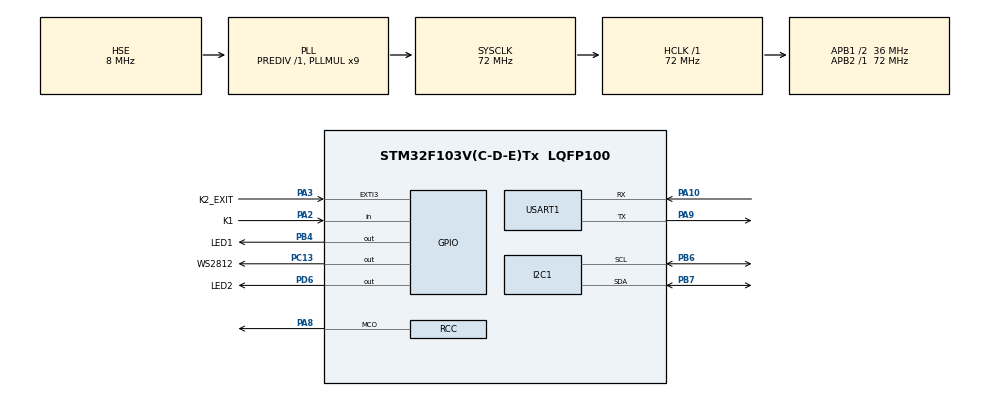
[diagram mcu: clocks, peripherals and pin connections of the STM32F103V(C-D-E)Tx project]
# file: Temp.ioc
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Mcu.Family=STM32F1
Mcu.Name=STM32F103V(C-D-E)Tx
Mcu.Package=LQFP100
NVIC.EXTI3_IRQn=true\:0\:0\:false\:false\:true\:true\:true\:true
NVIC.PriorityGroup=NVIC_PRIORITYGROUP_4
NVIC.USART1_IRQn=true\:0\:0\:false\:false\:true\:true\:true\:true
OSC_IN.Mode=HSE-External-Oscillator
OSC_IN.Signal=RCC_OSC_IN
OSC_OUT.Mode=HSE-External-Oscillator
OSC_OUT.Signal=RCC_OSC_OUT
PA10.Mode=Asynchronous
PA10.Signal=USART1_RX
PA13.Mode=Serial_Wire
PA13.Signal=SYS_JTMS-SWDIO
PA14.Mode=Serial_Wire
PA14.Signal=SYS_JTCK-SWCLK
PA2.GPIO_Label=K1
PA2.Signal=GPIO_Input
PA3.GPIO_Label=K2_EXIT
PA3.GPIO_ModeDefaultEXTI=GPIO_MODE_IT_FALLING
PA3.Signal=GPXTI3
PA8.Mode=Clock-out
PA8.Signal=RCC_MCO
PA9.Mode=Asynchronous
PA9.Signal=USART1_TX
PB4.GPIO_Label=LED1
PB4.GPIO_ModeDefaultOutputPP=GPIO_MODE_OUTPUT_PP
PB4.GPIO_PuPd=GPIO_PULLUP
PB4.GPIO_Speed=GPIO_SPEED_FREQ_HIGH
PB4.PinState=GPIO_PIN_SET
PB4.Signal=GPIO_Output
PB6.Mode=I2C
PB6.Signal=I2C1_SCL
PB7.Mode=I2C
PB7.Signal=I2C1_SDA
PC13-TAMPER-RTC.GPIO_Label=WS2812
PC13-TAMPER-RTC.GPIO_PuPd=GPIO_PULLUP
PC13-TAMPER-RTC.GPIO_Speed=GPIO_SPEED_FREQ_HIGH
PC13-TAMPER-RTC.PinState=GPIO_PIN_SET
PC13-TAMPER-RTC.Signal=GPIO_Output
PC14-OSC32_IN.Mode=LSE-External-Oscillator
PC14-OSC32_IN.Signal=RCC_OSC32_IN
PC15-OSC32_OUT.Mode=LSE-External-Oscillator
PC15-OSC32_OUT.Signal=RCC_OSC32_OUT
PD6.GPIO_Label=LED2
PD6.GPIO_ModeDefaultOutputPP=GPIO_MODE_OUTPUT_PP
PD6.GPIO_PuPd=GPIO_PULLUP
PD6.GPIO_Speed=GPIO_SPEED_FREQ_HIGH
PD6.PinState=GPIO_PIN_SET
PD6.Signal=GPIO_Output
ProjectManager.HeapSize=0x200
ProjectManager.StackSize=0x400
ProjectManager.TargetToolchain=Makefile
RCC.AHBFreq_Value=72000000
RCC.APB1CLKDivider=RCC_HCLK_DIV2
RCC.APB1Freq_Value=36000000
RCC.APB1TimFreq_Value=72000000
RCC.APB2Freq_Value=72000000
RCC.APB2TimFreq_Value=72000000
RCC.HCLKFreq_Value=72000000
RCC.PLLMUL=RCC_PLL_MUL9
RCC.PLLSourceVirtual=RCC_PLLSOURCE_HSE
RCC.RCC_MCOSource=RCC_MCO1SOURCE_PLLCLK
RCC.SYSCLKFreq_VALUE=72000000
RCC.SYSCLKSource=RCC_SYSCLKSOURCE_PLLCLK
RCC.USBFreq_Value=72000000
USART1.VirtualMode=VM_ASYNC
board=custom

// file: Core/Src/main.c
/* USER CODE BEGIN Header */
/**
  ******************************************************************************
  * @file           : main.c
  * @brief          : Main program body
  ******************************************************************************
  * @attention
  *
  * Copyright (c) 2025 STMicroelectronics.
  * All rights reserved.
  *
  * This software is licensed under terms that can be found in the LICENSE file
  * in the root directory of this software component.
  * If no LICENSE file comes with this software, it is provided AS-IS.
  *
  ******************************************************************************
  */
/* USER CODE END Header */
#include "main.h"

/* USER CODE BEGIN Includes */
#include "stdio.h"//printf函数
/* USER CODE END Includes */

/* USER CODE BEGIN PTD */
uint8_t rx_buff[100];  //接收缓存
uint8_t rx_done = 0; //接收完成标志
uint8_t rx_cnt = 0;//接收数据长度
/* USER CODE END PTD */

/* USER CODE BEGIN PD */
// EEPROM测试
void E2PROM_I2C_Test(void);
// I2C全局变量
#define ADDR_WR_AT24CXX 0xA0 // 写器件地址
#define ADDR_RD_AT24CXX 0xA1 // 读器件地址
#define BuffSize 256
uint8_t Wr_buff[BuffSize], Rd_buff[BuffSize]; // 读写数据buff
/* USER CODE END PD */

I2C_HandleTypeDef hi2c1;

UART_HandleTypeDef huart1;

void SystemClock_Config(void);
static void MX_GPIO_Init(void);
static void MX_USART1_UART_Init(void);
static void MX_I2C1_Init(void);
/* USER CODE BEGIN PFP */
//发送RGB数据，显示对应颜色
void sendRGB(uint8_t r, uint8_t g, uint8_t b);
// 发送一个字节
void sendByte(uint8_t byte);
// 发送单个比特
void sendBit(uint8_t bitVal);
/* USER CODE END PFP */

int main(void)
{

  /* MCU Configuration--------------------------------------------------------*/

  /* Reset of all peripherals, Initializes the Flash interface and the Systick. */
  HAL_Init();

  /* Configure the system clock */
  SystemClock_Config();

  /* Initialize all configured peripherals */
  MX_GPIO_Init();
  MX_USART1_UART_Init();
  MX_I2C1_Init();
  /* USER CODE BEGIN 2 */
  E2PROM_I2C_Test();//I2C通信测试
  /* USER CODE END 2 */

  /* Infinite loop */
  while (1)
  {

    /* USER CODE BEGIN 3 */
    sendRGB(0, 25, 0); //设置绿色
    HAL_Delay(1000);
    sendRGB(0, 0, 25);//设置蓝色
    HAL_Delay(1000);
    sendRGB(25, 0, 0);//设置红色
    HAL_Delay(1000);
  }
  /* USER CODE END 3 */
}

void SystemClock_Config(void)
{
  RCC_OscInitTypeDef RCC_OscInitStruct = {0};
  RCC_ClkInitTypeDef RCC_ClkInitStruct = {0};

  /** Initializes the RCC Oscillators according to the specified parameters
  * in the RCC_OscInitTypeDef structure.
  */
  RCC_OscInitStruct.OscillatorType = RCC_OSCILLATORTYPE_HSE;
  RCC_OscInitStruct.HSEState = RCC_HSE_ON;
  RCC_OscInitStruct.HSEPredivValue = RCC_HSE_PREDIV_DIV1;
  RCC_OscInitStruct.HSIState = RCC_HSI_ON;
  RCC_OscInitStruct.PLL.PLLState = RCC_PLL_ON;
  RCC_OscInitStruct.PLL.PLLSource = RCC_PLLSOURCE_HSE;
  RCC_OscInitStruct.PLL.PLLMUL = RCC_PLL_MUL9;
  if (HAL_RCC_OscConfig(&RCC_OscInitStruct) != HAL_OK)
  {
    Error_Handler();
  }

  /** Initializes the CPU, AHB and APB buses clocks
  */
  RCC_ClkInitStruct.ClockType = RCC_CLOCKTYPE_HCLK|RCC_CLOCKTYPE_SYSCLK
                              |RCC_CLOCKTYPE_PCLK1|RCC_CLOCKTYPE_PCLK2;
  RCC_ClkInitStruct.SYSCLKSource = RCC_SYSCLKSOURCE_PLLCLK;
  RCC_ClkInitStruct.AHBCLKDivider = RCC_SYSCLK_DIV1;
  RCC_ClkInitStruct.APB1CLKDivider = RCC_HCLK_DIV2;
  RCC_ClkInitStruct.APB2CLKDivider = RCC_HCLK_DIV1;

  if (HAL_RCC_ClockConfig(&RCC_ClkInitStruct, FLASH_LATENCY_2) != HAL_OK)
  {
    Error_Handler();
  }
  HAL_RCC_MCOConfig(RCC_MCO, RCC_MCO1SOURCE_PLLCLK, RCC_MCODIV_1);
}

static void MX_I2C1_Init(void)
{

  hi2c1.Instance = I2C1;
  hi2c1.Init.ClockSpeed = 100000;
  hi2c1.Init.DutyCycle = I2C_DUTYCYCLE_2;
  hi2c1.Init.OwnAddress1 = 0;
  hi2c1.Init.AddressingMode = I2C_ADDRESSINGMODE_7BIT;
  hi2c1.Init.DualAddressMode = I2C_DUALADDRESS_DISABLE;
  hi2c1.Init.OwnAddress2 = 0;
  hi2c1.Init.GeneralCallMode = I2C_GENERALCALL_DISABLE;
  hi2c1.Init.NoStretchMode = I2C_NOSTRETCH_DISABLE;
  if (HAL_I2C_Init(&hi2c1) != HAL_OK)
  {
    Error_Handler();
  }

}

static void MX_USART1_UART_Init(void)
{

  huart1.Instance = USART1;
  huart1.Init.BaudRate = 115200;
  huart1.Init.WordLength = UART_WORDLENGTH_8B;
  huart1.Init.StopBits = UART_STOPBITS_1;
  huart1.Init.Parity = UART_PARITY_NONE;
  huart1.Init.Mode = UART_MODE_TX_RX;
  huart1.Init.HwFlowCtl = UART_HWCONTROL_NONE;
  huart1.Init.OverSampling = UART_OVERSAMPLING_16;
  if (HAL_UART_Init(&huart1) != HAL_OK)
  {
    Error_Handler();
  }
  /* USER CODE BEGIN USART1_Init 2 */
  //�?启接收中断，空闲中断
  __HAL_UART_ENABLE_IT(&huart1,UART_IT_IDLE|UART_IT_RXNE);
  /* USER CODE END USART1_Init 2 */

}

static void MX_GPIO_Init(void)
{
  GPIO_InitTypeDef GPIO_InitStruct = {0};

  /* GPIO Ports Clock Enable */
  __HAL_RCC_GPIOC_CLK_ENABLE();
  __HAL_RCC_GPIOA_CLK_ENABLE();
  __HAL_RCC_GPIOD_CLK_ENABLE();
  __HAL_RCC_GPIOB_CLK_ENABLE();

  /*Configure GPIO pin Output Level */
  HAL_GPIO_WritePin(WS2812_GPIO_Port, WS2812_Pin, GPIO_PIN_SET);

  /*Configure GPIO pin Output Level */
  HAL_GPIO_WritePin(LED2_GPIO_Port, LED2_Pin, GPIO_PIN_SET);

  /*Configure GPIO pin Output Level */
  HAL_GPIO_WritePin(LED1_GPIO_Port, LED1_Pin, GPIO_PIN_SET);

  /*Configure GPIO pin : WS2812_Pin */
  GPIO_InitStruct.Pin = WS2812_Pin;
  GPIO_InitStruct.Mode = GPIO_MODE_OUTPUT_PP;
  GPIO_InitStruct.Pull = GPIO_PULLUP;
  GPIO_InitStruct.Speed = GPIO_SPEED_FREQ_HIGH;
  HAL_GPIO_Init(WS2812_GPIO_Port, &GPIO_InitStruct);

  /*Configure GPIO pin : K1_Pin */
  GPIO_InitStruct.Pin = K1_Pin;
  GPIO_InitStruct.Mode = GPIO_MODE_INPUT;
  GPIO_InitStruct.Pull = GPIO_NOPULL;
  HAL_GPIO_Init(K1_GPIO_Port, &GPIO_InitStruct);

  /*Configure GPIO pin : K2_EXIT_Pin */
  GPIO_InitStruct.Pin = K2_EXIT_Pin;
  GPIO_InitStruct.Mode = GPIO_MODE_IT_FALLING;
  GPIO_InitStruct.Pull = GPIO_NOPULL;
  HAL_GPIO_Init(K2_EXIT_GPIO_Port, &GPIO_InitStruct);

  /*Configure GPIO pin : PA8 */
  GPIO_InitStruct.Pin = GPIO_PIN_8;
  GPIO_InitStruct.Mode = GPIO_MODE_AF_PP;
  GPIO_InitStruct.Speed = GPIO_SPEED_FREQ_LOW;
  HAL_GPIO_Init(GPIOA, &GPIO_InitStruct);

  /*Configure GPIO pin : LED2_Pin */
  GPIO_InitStruct.Pin = LED2_Pin;
  GPIO_InitStruct.Mode = GPIO_MODE_OUTPUT_PP;
  GPIO_InitStruct.Pull = GPIO_PULLUP;
  GPIO_InitStruct.Speed = GPIO_SPEED_FREQ_HIGH;
  HAL_GPIO_Init(LED2_GPIO_Port, &GPIO_InitStruct);

  /*Configure GPIO pin : LED1_Pin */
  GPIO_InitStruct.Pin = LED1_Pin;
  GPIO_InitStruct.Mode = GPIO_MODE_OUTPUT_PP;
  GPIO_InitStruct.Pull = GPIO_PULLUP;
  GPIO_InitStruct.Speed = GPIO_SPEED_FREQ_HIGH;
  HAL_GPIO_Init(LED1_GPIO_Port, &GPIO_InitStruct);

  /* EXTI interrupt init*/
  HAL_NVIC_SetPriority(EXTI3_IRQn, 0, 0);
  HAL_NVIC_EnableIRQ(EXTI3_IRQn);

}

/* USER CODE BEGIN 4 */
#ifdef __GNUC__
#define PUTCHAR_PROTOTYPE int __io_putchar(int ch)
#else
#define PUTCHAR_PROTOTYPE int fputc(int ch,FILE *f)
#endif /* __GNUC__ */
//重定向printf函数
PUTCHAR_PROTOTYPE
{
    HAL_UART_Transmit(&huart1,(uint8_t *)&ch,1,HAL_MAX_DELAY);//输出指向串口USART1
    return ch;
}
//重写GPIO中断处理函数
void HAL_GPIO_EXTI_Callback(uint16_t GPIO_Pin)
{
    //翻转LED1
    HAL_GPIO_TogglePin(LED1_GPIO_Port,LED1_Pin);
    //打印中断处理信息
    printf("K2 ExTi interrput!\r\n");
}
//发�?�RGB数据，显示对应颜�?
void sendRGB(uint8_t r, uint8_t g, uint8_t b)
{
    sendByte(g);
    sendByte(r);
    sendByte(b);
}
// 发�?�一个字�?
void sendByte(uint8_t byte)
{
    for (int i = 0; i < 8; i++)
    {
        sendBit(byte & 0x80);
        byte <<= 1;
    }
}
// 发�?�单个比�?
void sendBit(uint8_t bitVal)
{
    if (bitVal)
    {
        HAL_GPIO_WritePin(WS2812_GPIO_Port, WS2812_Pin, GPIO_PIN_SET);
        // 根据WS2812时序要求，高电平时间
        for (int i = 0; i < 10; i++)
        {
            __NOP();
        }
        HAL_GPIO_WritePin(WS2812_GPIO_Port, WS2812_Pin, GPIO_PIN_RESET);
        // 低电平时�?
        for (int j = 0; j < 5; j++)
        {
            __NOP();
        }
    }
    else
    {
        HAL_GPIO_WritePin(WS2812_GPIO_Port, WS2812_Pin, GPIO_PIN_SET);
        for (int i = 0; i < 5; i++)
        {
            __NOP();
        }
        HAL_GPIO_WritePin(WS2812_GPIO_Port, WS2812_Pin, GPIO_PIN_RESET);
        for (int j = 0; j < 10; j++)
        {
            __NOP();
        }
    }
}
// EEPROM测试
void E2PROM_I2C_Test(void)
{
  HAL_StatusTypeDef error;
  uint8_t length = 10;
  for (uint16_t i = 0; i < 256; i++)
    Wr_buff[i] = i;
  // AT24Cxx地址00开始写入8Byte数据
  error = HAL_I2C_Mem_Write(&hi2c1, ADDR_WR_AT24CXX, 0x00, I2C_MEMADD_SIZE_16BIT, Wr_buff, length, 1000);
  if (error == HAL_OK)
    printf("e2prom write done!\r\n");
  else
    printf("e2prom write fail!\r\n");
  HAL_Delay(1000);
  // 从地址0x00开始读8Byte数据，并打印。
  error = HAL_I2C_Mem_Read(&hi2c1, ADDR_RD_AT24CXX, 0x00, I2C_MEMADD_SIZE_16BIT, Rd_buff, length, 1000);
  if (error == HAL_OK)
  {
    printf("e2prom read done!\r\n");
    for (uint16_t i = 0; i < length; i++)
    {
      printf("0x%02x ", Rd_buff[i]);
    }
    printf("\r\n");
  }
  else
    printf("e2prom write fail!\r\n");
}
/* USER CODE END 4 */

void Error_Handler(void)
{
  __disable_irq();
  while (1)
  {
  }
}
